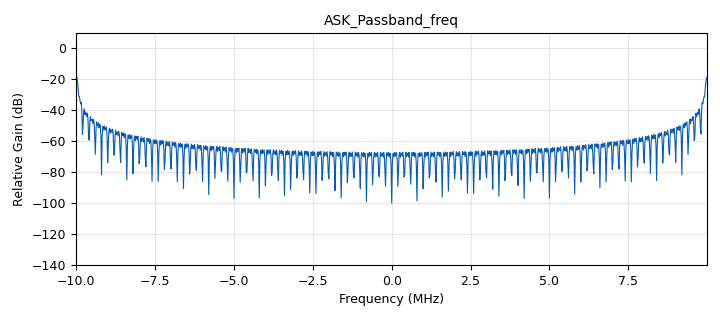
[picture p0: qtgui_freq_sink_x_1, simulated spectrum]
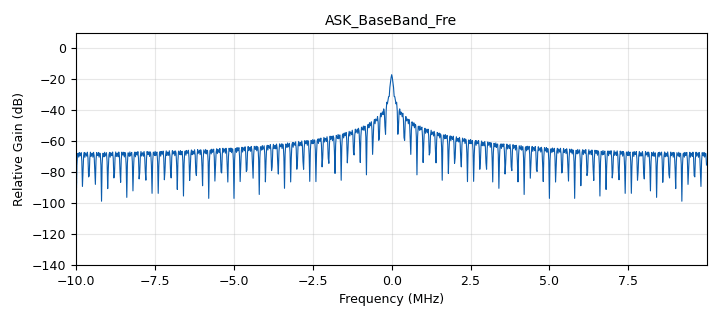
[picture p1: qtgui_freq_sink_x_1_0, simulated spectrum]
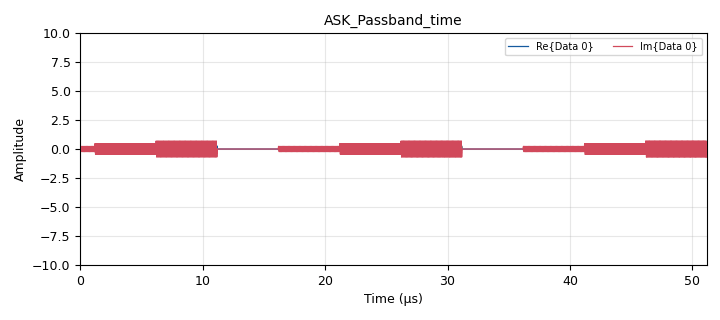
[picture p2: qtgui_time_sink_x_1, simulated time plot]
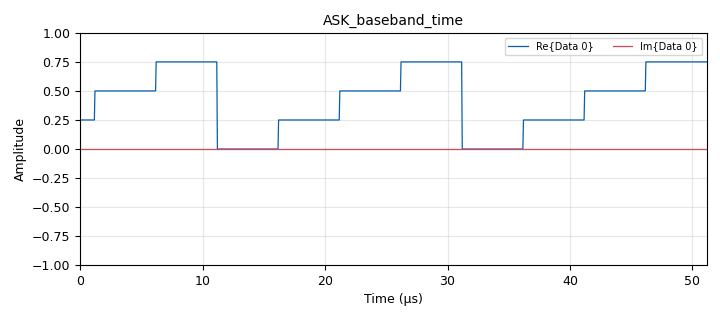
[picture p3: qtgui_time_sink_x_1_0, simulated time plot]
options:
  parameters:
    generate_options: qt_gui
    id: ASK_new
    output_language: python
    title: Not titled yet
  states: {}

blocks:
- name: cen_freq
  id: variable
  parameters:
    value: '850000000'
  states: {}
- name: rx_gain
  id: variable_qtgui_range
  parameters:
    start: '0'
    step: '1'
    stop: '100'
    value: '10'
  states: {}
- name: samp_rate
  id: variable
  parameters:
    value: '20000000'
  states: {}
- name: signal_freq
  id: variable
  parameters:
    value: '10000'
  states: {}
- name: sps
  id: variable
  parameters:
    value: '100'
  states: {}
- name: tx_attenuation
  id: variable_qtgui_range
  parameters:
    start: '0'
    step: '1'
    stop: '100'
    value: '10'
  states: {}
- name: analog_sig_source_x_0
  id: analog_sig_source_x
  parameters:
    amp: '1'
    freq: cen_freq
    offset: '0'
    phase: '0'
    samp_rate: samp_rate
    type: complex
    waveform: analog.GR_COS_WAVE
  states: {}
- name: blocks_multiply_xx_0
  id: blocks_multiply_xx
  parameters:
    type: complex
  states: {}
- name: blocks_repeat_0
  id: blocks_repeat
  parameters:
    interp: sps
    type: complex
  states: {}
- name: blocks_vector_source_x_1
  id: blocks_vector_source_x
  parameters:
    repeat: 'True'
    type: complex
    vector: (0,0.25,0.5,0.75)
  states: {}
- name: iio_pluto_sink_0
  id: iio_pluto_sink
  parameters:
    attenuation1: tx_attenuation
    bandwidth: '20000000'
    buffer_size: '32768'
    cyclic: 'False'
    filter_source: '''Auto'''
    frequency: cen_freq
    samplerate: samp_rate
    type: fc32
    uri: usb:1.2.5
  states: {}
- name: iio_pluto_source_0
  id: iio_pluto_source
  parameters:
    bandwidth: '20000000'
    bbdc: 'True'
    buffer_size: '32768'
    filter_source: '''Auto'''
    frequency: cen_freq
    gain1: '''manual'''
    manual_gain1: rx_gain
    quadrature: 'True'
    rfdc: 'True'
    samplerate: samp_rate
    type: fc32
    uri: usb:1.3.5
  states: {}
- name: qtgui_freq_sink_x_0
  id: qtgui_freq_sink_x
  parameters:
    bw: samp_rate
    fc: '0'
    fftsize: '1024'
    name: ASK_Rx_fre
    type: complex
  states: {}
- name: qtgui_freq_sink_x_1
  id: qtgui_freq_sink_x
  parameters:
    bw: samp_rate
    fc: '0'
    fftsize: '1024'
    name: ASK_Passband_freq
    type: complex
  states: {}
- name: qtgui_freq_sink_x_1_0
  id: qtgui_freq_sink_x
  parameters:
    bw: samp_rate
    fc: '0'
    fftsize: '1024'
    name: ASK_BaseBand_Fre
    type: complex
  states: {}
- name: qtgui_time_sink_x_0
  id: qtgui_time_sink_x
  parameters:
    name: ASK_Rx_time
    size: '1024'
    srate: samp_rate
    type: complex
  states: {}
- name: qtgui_time_sink_x_1
  id: qtgui_time_sink_x
  parameters:
    name: ASK_Passband_time
    size: '1024'
    srate: samp_rate
    type: complex
    ymax: '10'
    ymin: '-10'
  states: {}
- name: qtgui_time_sink_x_1_0
  id: qtgui_time_sink_x
  parameters:
    name: ASK_baseband_time
    size: '1024'
    srate: samp_rate
    type: complex
  states: {}

connections:
- [analog_sig_source_x_0, '0', blocks_multiply_xx_0, '1']
- [blocks_multiply_xx_0, '0', iio_pluto_sink_0, '0']
- [blocks_multiply_xx_0, '0', qtgui_freq_sink_x_1, '0']
- [blocks_multiply_xx_0, '0', qtgui_time_sink_x_1, '0']
- [blocks_repeat_0, '0', blocks_multiply_xx_0, '0']
- [blocks_repeat_0, '0', qtgui_freq_sink_x_1_0, '0']
- [blocks_repeat_0, '0', qtgui_time_sink_x_1_0, '0']
- [blocks_vector_source_x_1, '0', blocks_repeat_0, '0']
- [iio_pluto_source_0, '0', qtgui_freq_sink_x_0, '0']
- [iio_pluto_source_0, '0', qtgui_time_sink_x_0, '0']

metadata:
  file_format: 1
  grc_version: 3.10.11.0
